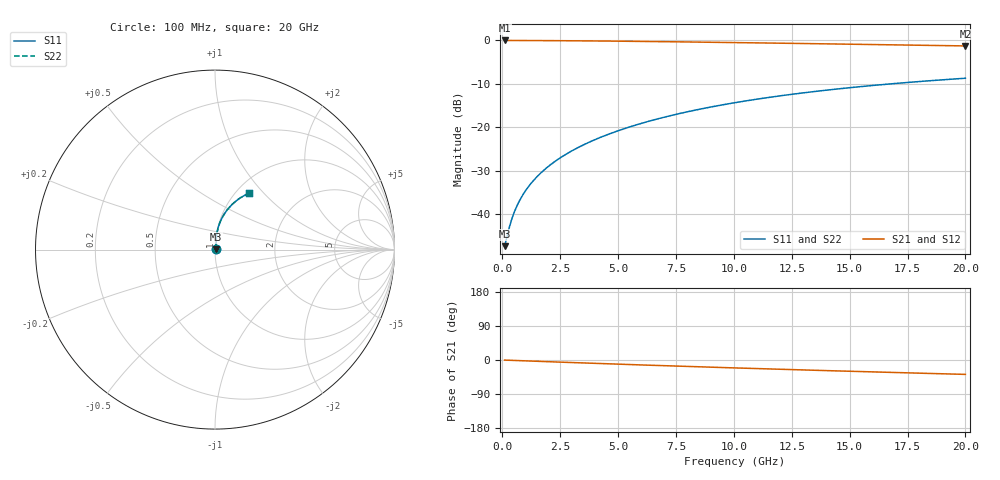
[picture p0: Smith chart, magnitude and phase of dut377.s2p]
! Touchstone file exported from HFSS 2024.1.0
!  File:  C:/UserFiles/LocalFiles/RDL_TSV_Batchsim/temp_RDL_top_377_1779609236.aedt
!  Generated:  03:56:28 PM May 24, 2026
!  Design:  RDL_top
!  Project:  temp_RDL_top_377_1779609236
!  Setup:  Setup1
!  Solution:  Sweep
! Variables:
!  dtsv = 10.80580581um
!  hbump = 3um
!  htsv = 92.83um
!  ldown = 100um
!  lrdl = 494.94um
!  p = 40
!  p1 = 54.52um
!  rhole = 1um
!  t = 450um
!  tdown = 3.915915916um
!  trdl = 2.18um
!  wdown = 15.38538539um
!  wrdl = 23.22um
# GHz S MA R 50.000000
! Terminal data exported
! Port[1] = Box2_T1
! Port[2] = Box2_T2
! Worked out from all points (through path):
!   200 points, 100 MHz to 20 GHz, reference 50 ohm
!   highest |S21| = -0.03 dB at 100 MHz (marker M1); lowest = -1.3 dB at 20 GHz (marker M2)
!   group delay of S21, straight-line fit = 5.24 ps
!   lowest |S11| = -47.4 dB at 100 MHz (marker M3), VSWR 1.01, Z = 50.4 + j0.194 ohm
!   |S11| at or under -10 dB: start of sweep to 16.85 GHz
!   |S22| runs from -47.4 to -8.7 dB; largest |S21 - S12| = 2.4e-15
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0.1  0.004254 26.9  0.9962 -0.2  0.9962 -0.2  0.004254 26.9
! Gamma 0 0 0 0
! Port Impedance 50 0 50 0
0.3  0.006949 54.7  0.9959 -0.7  0.9959 -0.7  0.00695 54.7
0.4  0.008557 60.9  0.9957 -0.9  0.9957 -0.9  0.008557 60.9
0.5  0.0102 65.0  0.9955 -1.2  0.9955 -1.2  0.0102 65.0
0.6  0.01184 68.0  0.9953 -1.4  0.9953 -1.4  0.01184 68.0
0.7  0.01349 70.3  0.9951 -1.6  0.9951 -1.6  0.01349 70.3
0.9  0.01679 73.6  0.9947 -2.1  0.9947 -2.1  0.01679 73.6
1.2  0.02179 76.8  0.994 -2.7  0.994 -2.7  0.02179 76.8
1.7  0.03027 80.0  0.9928 -3.8  0.9928 -3.8  0.03027 80.0
2.2  0.03895 81.7  0.9912 -5.0  0.9912 -5.0  0.03895 81.7
2.8  0.04961 82.9  0.989 -6.3  0.989 -6.3  0.04962 82.9
3.5  0.06238 83.5  0.9859 -7.8  0.9859 -7.8  0.06238 83.5
4.2  0.07547 83.6  0.9823 -9.3  0.9823 -9.3  0.07547 83.6
5  0.09079 83.3  0.9777 -11.0  0.9777 -11.0  0.09079 83.3
5.9  0.1084 82.6  0.972 -12.8  0.972 -12.8  0.1084 82.6
6.8  0.1263 81.6  0.966 -14.6  0.966 -14.6  0.1263 81.6
8.4  0.1584 79.3  0.9544 -17.8  0.9544 -17.8  0.1584 79.3
10.1  0.1923 76.5  0.9416 -21.0  0.9416 -21.0  0.1923 76.5
11.7  0.2236 73.7  0.929 -23.9  0.929 -23.9  0.2235 73.6
13.4  0.2557 70.6  0.9155 -27.0  0.9155 -27.0  0.2556 70.6
16.7  0.3138 64.7  0.8886 -32.6  0.8886 -32.6  0.3137 64.7
20  0.3658 59.1  0.8616 -38.0  0.8616 -38.0  0.3657 59.0
